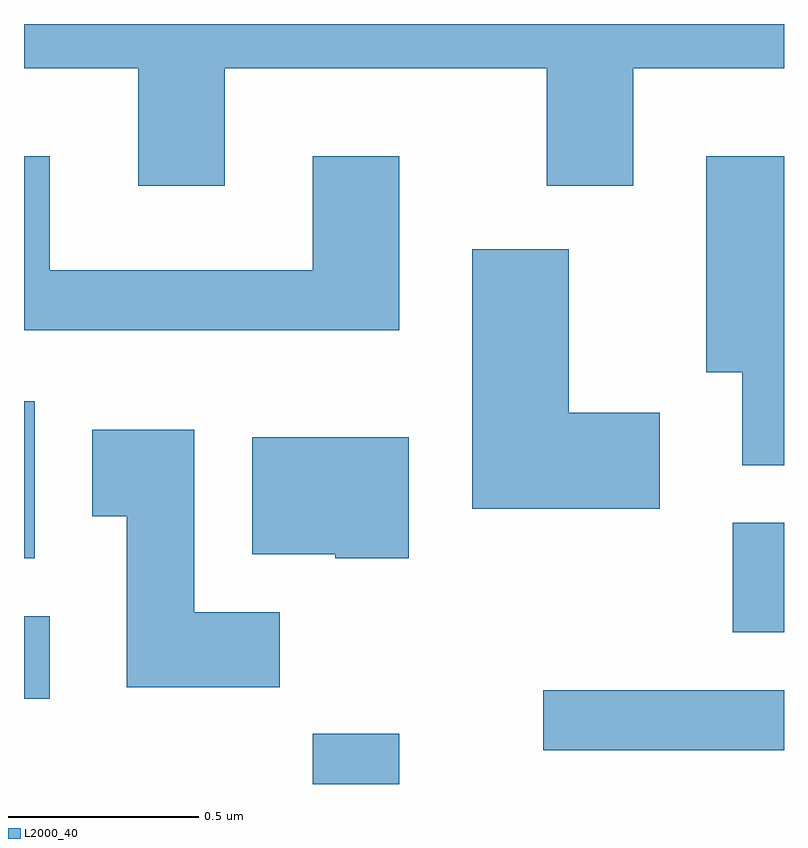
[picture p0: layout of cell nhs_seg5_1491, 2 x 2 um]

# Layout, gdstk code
import gdstk
lib = gdstk.Library(unit=1e-6, precision=1e-09)
def R(c, l, rs):  # rectangles x0, y0, x1, y1
    for r in rs: c.add(gdstk.rectangle(r[:2], r[2:], *l))
def P(c, l, *ps):  # polygons
    for p in ps: c.add(gdstk.Polygon(p, *l))
L2000_40 = (2000, 40)

nhs_seg5_1491 = lib.new_cell('nhs_seg5_1491')
R(nhs_seg5_1491, L2000_40, [(196.371,1517.072,196.599,1517.204), (196.978,1517.161,197.611,1517.319), (195.611,1517.296,195.679,1517.514), (197.476,1517.471,197.611,1517.759), (195.611,1517.666,195.639,1518.079)])
P(nhs_seg5_1491, L2000_40, [(196.139,1518.956),(196.986,1518.956),(196.986,1518.646),(197.214,1518.646),(197.214,1518.956),(197.611,1518.956),(197.611,1519.072),(195.611,1519.072),(195.611,1518.956),(195.911,1518.956),(195.911,1518.646),(196.139,1518.646)],
  [(196.599,1518.724),(196.371,1518.724),(196.371,1518.424),(195.679,1518.424),(195.679,1518.724),(195.611,1518.724),(195.611,1518.266),(196.599,1518.266)],
  [(197.611,1518.724),(197.406,1518.724),(197.406,1518.156),(197.501,1518.156),(197.501,1517.911),(197.611,1517.911)],
  [(197.284,1518.049),(197.044,1518.049),(197.044,1518.479),(196.791,1518.479),(196.791,1517.796),(197.284,1517.796)],
  [(196.284,1517.524),(196.059,1517.524),(196.059,1518.004),(195.791,1518.004),(195.791,1517.776),(195.881,1517.776),(195.881,1517.326),(196.284,1517.326)],
  [(196.624,1517.984),(196.211,1517.984),(196.211,1517.676),(196.43,1517.676),(196.43,1517.666),(196.624,1517.666)])

lib.write_gds('nhs_seg5_1491.gds')
